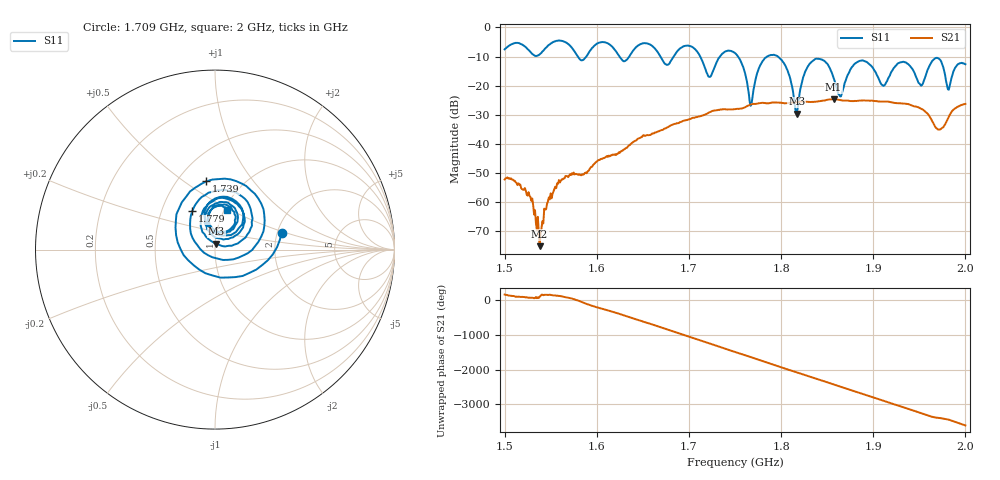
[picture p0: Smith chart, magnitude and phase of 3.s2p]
! NanoVNA-App by SYSJOINT et al v1.1.209 (+OD18)
! Date: 2026-01-21 14:31:48
! Start: 1,5GHz Stop: 2GHz Points: 501
! S-Parameter data: F S11 S21 S12 S22
# Hz S RI R 50
!  Frequency  S11_Real  S11_Imag  S21_Real  S21_Imag  S12_Real  S12_Imag  S22_Real  S22_Imag
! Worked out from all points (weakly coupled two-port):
!   501 points, 1.5 GHz to 2 GHz, reference 50 ohm
!   highest |S21| = -24.63 dB at 1.857 GHz (marker M1); lowest = -75.2 dB at 1.538 GHz (marker M2)
!   lowest |S11| = -29.6 dB at 1.817 GHz (marker M3), VSWR 1.07, Z = 50.6 + j3.28 ohm
!   |S11| at or under -10 dB: 1.712 GHz to 1.734 GHz (21.37 MHz wide, 1.24 % of centre); 1.753 GHz to 1.785 GHz (31.45 MHz wide, 1.78 % of centre); 1.797 GHz to end of sweep (the widest 3 of 6)
!   S12 and S22 are empty: the file has one direction only
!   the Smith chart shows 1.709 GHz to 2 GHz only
!   S11 on the Smith chart (normalised r, x): 1.709 GHz: 2.12, +0.47; 1.739 GHz: 0.69, +0.61; 1.779 GHz: 0.71, +0.33; 2 GHz: 1.03, +0.49
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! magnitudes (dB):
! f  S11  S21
! 1.5 GHz  -7.5  -52.3
! 1.528 GHz  -8.4  -58.3
! 1.538 GHz  -9.2  -75.2
! 1.557 GHz  -4.6  -53.6
! 1.584 GHz  -11.3  -50.5
! 1.667 GHz  -8.9  -35.7
! 1.709 GHz  -8.3  -30.8
! 1.722 GHz  -17.0  -29.2
! 1.739 GHz  -8.3  -28.1
! 1.75 GHz  -8.8  -28.1
! 1.767 GHz  -26.9  -26.5
! 1.779 GHz  -12.1  -25.9
! 1.802 GHz  -11.8  -26.0
! 1.817 GHz  -29.6  -25.7
! 1.834 GHz  -11.6  -25.6
! 1.857 GHz  -17.3  -24.6
! 1.917 GHz  -17.0  -25.5
! 1.934 GHz  -11.9  -26.2
! 1.952 GHz  -20.0  -27.9
! 1.971 GHz  -10.6  -35.1
! 1.982 GHz  -21.4  -30.7
! 2 GHz  -12.6  -26.3
